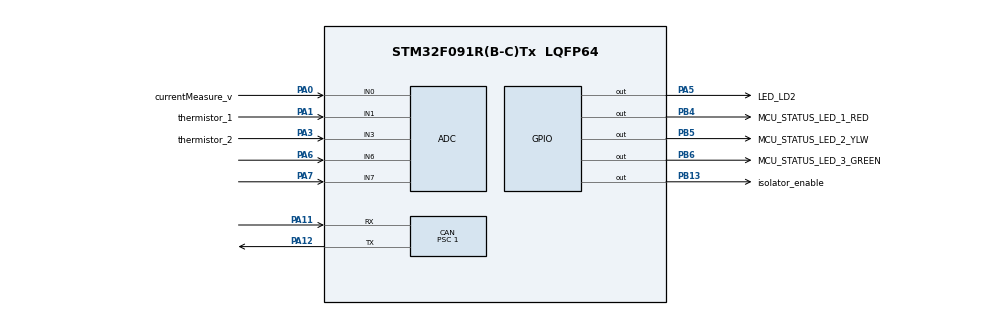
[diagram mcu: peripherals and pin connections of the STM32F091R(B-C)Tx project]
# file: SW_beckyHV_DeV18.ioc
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ADC.ContinuousConvMode=ENABLE
CAN.BS1=CAN_BS1_6TQ
CAN.CalculateBaudRate=1000000
CAN.CalculateTimeBit=1000
CAN.CalculateTimeQuantum=125.0
CAN.Prescaler=1
Dma.ADC.0.Direction=DMA_PERIPH_TO_MEMORY
Dma.ADC.0.Instance=DMA1_Channel1
Dma.ADC.0.MemDataAlignment=DMA_MDATAALIGN_HALFWORD
Dma.ADC.0.MemInc=DMA_MINC_ENABLE
Dma.ADC.0.Mode=DMA_NORMAL
Dma.ADC.0.PeriphDataAlignment=DMA_PDATAALIGN_HALFWORD
Dma.ADC.0.PeriphInc=DMA_PINC_DISABLE
Dma.ADC.0.Priority=DMA_PRIORITY_HIGH
Dma.Request0=ADC
Mcu.Family=STM32F0
Mcu.Name=STM32F091R(B-C)Tx
Mcu.Package=LQFP64
NVIC.DMA1_Ch1_IRQn=true\:0\:0\:false\:false\:true\:false\:true\:true
NVIC.TIM3_IRQn=true\:0\:0\:false\:false\:true\:true\:true\:true
PA0.GPIO_Label=currentMeasure_v
PA0.Mode=IN0
PA0.Signal=ADC_IN0
PA1.GPIO_Label=thermistor_1
PA1.Mode=IN1
PA1.Signal=ADC_IN1
PA11.Mode=CAN_Activate
PA11.Signal=CAN_RX
PA12.Mode=CAN_Activate
PA12.Signal=CAN_TX
PA13.Mode=Serial_Wire
PA13.Signal=SYS_SWDIO
PA14.Mode=Serial_Wire
PA14.Signal=SYS_SWCLK
PA3.GPIO_Label=thermistor_2
PA3.Mode=IN3
PA3.Signal=ADC_IN3
PA5.GPIO_Label=LED_LD2
PA5.Signal=GPIO_Output
PA6.Mode=IN6
PA6.Signal=ADC_IN6
PA7.Mode=IN7
PA7.Signal=ADC_IN7
PB13.GPIO_Label=isolator_enable
PB13.Signal=GPIO_Output
PB4.GPIO_Label=MCU_STATUS_LED_1_RED
PB4.Signal=GPIO_Output
PB5.GPIO_Label=MCU_STATUS_LED_2_YLW
PB5.Signal=GPIO_Output
PB6.GPIO_Label=MCU_STATUS_LED_3_GREEN
PB6.Signal=GPIO_Output
ProjectManager.HeapSize=0x200
ProjectManager.StackSize=0x400
ProjectManager.TargetToolchain=STM32CubeIDE
RCC.APB1Freq_Value=8000000
RCC.APB1TimFreq_Value=8000000
TIM3.AutoReloadPreload=TIM_AUTORELOAD_PRELOAD_ENABLE
TIM3.Period=49999
TIM3.Prescaler=16
VP_TIM3_VS_ClockSourceINT.Mode=Internal
board=custom

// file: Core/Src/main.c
/* USER CODE BEGIN Header */
/**
 ******************************************************************************
 * @file           : main.c
 * @brief          : Main program body
 ******************************************************************************
 * @attention
 *
 * Copyright (c) 2023 STMicroelectronics.
 * All rights reserved.
 *
 * This software is licensed under terms that can be found in the LICENSE file
 * in the root directory of this software component.
 * If no LICENSE file comes with this software, it is provided AS-IS.
 *
 ******************************************************************************
 */
/* USER CODE END Header */
#include "main.h"

/* USER CODE BEGIN Includes */
#include <math.h>
#include <stdio.h> // only for debugging purposes, remove if space is limited
#include "../CAN/lib/can1.h"
/* USER CODE END Includes */

/* USER CODE BEGIN PD */

/* Define which ADCs are taking which measurements */
#define ADC_N 5 // number of adc pins active
#define ADC_curr_N 0
#define ADC_therm1_N 1
#define ADC_therm2_N 2
#define ADC_voltBat_N 3
#define ADC_voltVehicle_N 4
#define NUM_AVG_VALS 16
/* USER CODE END PD */

ADC_HandleTypeDef hadc;
DMA_HandleTypeDef hdma_adc;

CAN_HandleTypeDef hcan;

TIM_HandleTypeDef htim3;

/* USER CODE BEGIN PV */
int period = 100; /* period given in ms */
int timeout_time = 50; /* time given in ms */
int SEND_ON_CAN = 0;

typedef enum {
	no_error,
	cell_over_voltage,
	cell_under_voltage,
	cell_over_temperature,
	cell_under_temperature,
	over_current,
	under_current,
	ADC_timeout
} error_t;

error_t error = no_error;
volatile uint16_t ADC_read_value_raw[ADC_N]; // Range: [0,4095]
volatile uint16_t ADC_average_value[ADC_N];

// Variables for ADC averaging
volatile uint16_t ADC_recent_current[NUM_AVG_VALS];
volatile uint16_t ADC_recent_voltBat[NUM_AVG_VALS];
volatile uint16_t ADC_recent_voltVehicle[NUM_AVG_VALS];

volatile float ADC_reference_voltage = 3.3;

volatile int ADC_interrupt_flag;  // set by ADC callback
volatile int timeout;
volatile double current_I, vBat_V, vVehicle_V, tTherm1_C, tTherm2_C; // measurement variables
volatile uint8_t current_CAN;
HAL_StatusTypeDef ADC_status;
/* ======= CAN =========== */
CAN_TxHeaderTypeDef pTxHeader;
CAN_RxHeaderTypeDef pRxHeader;
uint8_t TxData[8]; // transmitted data
uint8_t RxData[8]; // received data
uint32_t TxMailbox; // mailbox to store transmitted message

struct can1_ivt_improved_status_t ivt_improved_status;
/* USER CODE END PV */

void SystemClock_Config(void);
static void MX_GPIO_Init(void);
static void MX_DMA_Init(void);
static void MX_ADC_Init(void);
static void MX_CAN_Init(void);
static void MX_TIM3_Init(void);
/* USER CODE BEGIN PFP */
/* Timer 3 has a 500kHz period */
double current_measure(double ADC_value); // Process ADC values for current measurement
double voltage_measure(double ADC_value);
double ADC_to_Temperature(double ADC_value);

// CAN functions
void HAL_TIM_PeriodElapsedCallback(TIM_HandleTypeDef *htim);
void CAN_send_status(void);
/* USER CODE END PFP */

int main(void)
{
  /* USER CODE BEGIN 1 */
	int k1=0,k2=0; // loop variables
	float sumVar; // used for summation in the average calculation
  /* USER CODE END 1 */

  /* MCU Configuration--------------------------------------------------------*/

  /* Reset of all peripherals, Initializes the Flash interface and the Systick. */
  HAL_Init();

  /* Configure the system clock */
  SystemClock_Config();

  /* Initialize all configured peripherals */
  MX_GPIO_Init();
  MX_DMA_Init();
  MX_ADC_Init();
  MX_CAN_Init();
  MX_TIM3_Init();
  /* USER CODE BEGIN 2 */
  HAL_CAN_Start(&hcan);
  HAL_CAN_WakeUp(&hcan);

  // set isolator pin to high permanently
  HAL_GPIO_WritePin(isolator_enable_GPIO_Port, isolator_enable_Pin, GPIO_PIN_SET);
  // Calibrate the ADC
  ADC_status = HAL_ADCEx_Calibration_Start(&hadc);
  if (ADC_status == HAL_ERROR)
	  Error_Handler();
  /* USER CODE END 2 */

  /* Infinite loop */
  /* USER CODE BEGIN WHILE */
	while (1) {

		/* Toggle heartbeat */
		HAL_GPIO_TogglePin(MCU_STATUS_LED_3_GREEN_GPIO_Port, MCU_STATUS_LED_3_GREEN_Pin);

		/* Initialise flags on loop */
		ADC_interrupt_flag = 0;
		timeout = 1;

		// Take ADC values using the DMA
		HAL_ADC_Start_DMA(&hadc, (uint32_t *)ADC_read_value_raw, (uint16_t)ADC_N);
		for (int i = 0; i < ((timeout_time / 10) - 1); i++) {
			if (ADC_interrupt_flag == 1) {

				timeout = 0;

				// Rolling average used as it is fast, but downside is slight error propagation
				// For current and voltage a larger weight is given to the most recent reading, so it is less stable but quicker to react to large swings
				// The temperature readings have a large weight on previous values
				// 32 = 2^5 chosen as the weight to use bit-shift arithmetic. A power of 2 is recommended to use bit shift operation
				// TODO: improve the efficiency of these calculations ,should be possible with additions and bitshifts
				ADC_average_value[ADC_therm1_N] = round((ADC_read_value_raw[ADC_therm1_N] + ADC_average_value[ADC_therm1_N]*15) >> 4);
				ADC_average_value[ADC_therm2_N] = round((ADC_read_value_raw[ADC_therm2_N] + ADC_average_value[ADC_therm2_N]*15) >> 4);
				ADC_average_value[ADC_curr_N] = round((5*ADC_read_value_raw[ADC_curr_N] + ADC_average_value[ADC_curr_N]*11) >> 4);
				ADC_average_value[ADC_voltBat_N] = round((ADC_read_value_raw[ADC_voltBat_N] + ADC_average_value[ADC_voltBat_N]*15) >> 4);
				ADC_average_value[ADC_voltVehicle_N] = round((ADC_read_value_raw[ADC_voltVehicle_N] + ADC_average_value[ADC_voltVehicle_N]*15) >> 4);

					//Check current reading, store in current_I
				current_I = current_measure(ADC_average_value[ADC_curr_N]);
				//Check voltage readings, store in vBat_V and vVehicle_V
				vBat_V = voltage_measure(ADC_average_value[ADC_voltBat_N]);
				vVehicle_V = voltage_measure(ADC_average_value[ADC_voltVehicle_N]);
				// Take thermistor readings
				tTherm1_C = ADC_to_Temperature(ADC_average_value[ADC_therm1_N]);
				tTherm2_C = ADC_to_Temperature(ADC_average_value[ADC_therm2_N]);

				break;
			}
			HAL_Delay(50);
		}
		CAN_send_status(); // bypass the timer
		//Send data and status on CAN
		if (SEND_ON_CAN == 1)
		{
			HAL_TIM_Base_Stop_IT(&htim3); // stop timer once it is complete
			CAN_send_status(); //pack data and send on CAN
			SEND_ON_CAN = 0;
			HAL_TIM_Base_Start_IT(&htim3); // start timer again
		}

		//If we haven't received values from ADC trough DMA -> timeout error
		if (timeout) {
			error = ADC_timeout;
		}

		//Check if we have an error, if yes go to error handler
		if (error) {
			Error_Handler();
		}
		HAL_Delay(period);
	}
    /* USER CODE END WHILE */

}

void SystemClock_Config(void)
{
  RCC_OscInitTypeDef RCC_OscInitStruct = {0};
  RCC_ClkInitTypeDef RCC_ClkInitStruct = {0};

  /** Initializes the RCC Oscillators according to the specified parameters
  * in the RCC_OscInitTypeDef structure.
  */
  RCC_OscInitStruct.OscillatorType = RCC_OSCILLATORTYPE_HSI|RCC_OSCILLATORTYPE_HSI14;
  RCC_OscInitStruct.HSIState = RCC_HSI_ON;
  RCC_OscInitStruct.HSI14State = RCC_HSI14_ON;
  RCC_OscInitStruct.HSICalibrationValue = RCC_HSICALIBRATION_DEFAULT;
  RCC_OscInitStruct.HSI14CalibrationValue = 16;
  RCC_OscInitStruct.PLL.PLLState = RCC_PLL_NONE;
  if (HAL_RCC_OscConfig(&RCC_OscInitStruct) != HAL_OK)
  {
    Error_Handler();
  }

  /** Initializes the CPU, AHB and APB buses clocks
  */
  RCC_ClkInitStruct.ClockType = RCC_CLOCKTYPE_HCLK|RCC_CLOCKTYPE_SYSCLK
                              |RCC_CLOCKTYPE_PCLK1;
  RCC_ClkInitStruct.SYSCLKSource = RCC_SYSCLKSOURCE_HSI;
  RCC_ClkInitStruct.AHBCLKDivider = RCC_SYSCLK_DIV1;
  RCC_ClkInitStruct.APB1CLKDivider = RCC_HCLK_DIV1;

  if (HAL_RCC_ClockConfig(&RCC_ClkInitStruct, FLASH_LATENCY_0) != HAL_OK)
  {
    Error_Handler();
  }
}

static void MX_ADC_Init(void)
{

  ADC_ChannelConfTypeDef sConfig = {0};

  /** Configure the global features of the ADC (Clock, Resolution, Data Alignment and number of conversion)
  */
  hadc.Instance = ADC1;
  hadc.Init.ClockPrescaler = ADC_CLOCK_ASYNC_DIV1;
  hadc.Init.Resolution = ADC_RESOLUTION_12B;
  hadc.Init.DataAlign = ADC_DATAALIGN_RIGHT;
  hadc.Init.ScanConvMode = ADC_SCAN_DIRECTION_FORWARD;
  hadc.Init.EOCSelection = ADC_EOC_SINGLE_CONV;
  hadc.Init.LowPowerAutoWait = DISABLE;
  hadc.Init.LowPowerAutoPowerOff = DISABLE;
  hadc.Init.ContinuousConvMode = ENABLE;
  hadc.Init.DiscontinuousConvMode = DISABLE;
  hadc.Init.ExternalTrigConv = ADC_SOFTWARE_START;
  hadc.Init.ExternalTrigConvEdge = ADC_EXTERNALTRIGCONVEDGE_NONE;
  hadc.Init.DMAContinuousRequests = DISABLE;
  hadc.Init.Overrun = ADC_OVR_DATA_PRESERVED;
  if (HAL_ADC_Init(&hadc) != HAL_OK)
  {
    Error_Handler();
  }

  /** Configure for the selected ADC regular channel to be converted.
  */
  sConfig.Channel = ADC_CHANNEL_0;
  sConfig.Rank = ADC_RANK_CHANNEL_NUMBER;
  sConfig.SamplingTime = ADC_SAMPLETIME_1CYCLE_5;
  if (HAL_ADC_ConfigChannel(&hadc, &sConfig) != HAL_OK)
  {
    Error_Handler();
  }

  /** Configure for the selected ADC regular channel to be converted.
  */
  sConfig.Channel = ADC_CHANNEL_1;
  if (HAL_ADC_ConfigChannel(&hadc, &sConfig) != HAL_OK)
  {
    Error_Handler();
  }

  /** Configure for the selected ADC regular channel to be converted.
  */
  sConfig.Channel = ADC_CHANNEL_3;
  if (HAL_ADC_ConfigChannel(&hadc, &sConfig) != HAL_OK)
  {
    Error_Handler();
  }

  /** Configure for the selected ADC regular channel to be converted.
  */
  sConfig.Channel = ADC_CHANNEL_6;
  if (HAL_ADC_ConfigChannel(&hadc, &sConfig) != HAL_OK)
  {
    Error_Handler();
  }

  /** Configure for the selected ADC regular channel to be converted.
  */
  sConfig.Channel = ADC_CHANNEL_7;
  if (HAL_ADC_ConfigChannel(&hadc, &sConfig) != HAL_OK)
  {
    Error_Handler();
  }

}

static void MX_CAN_Init(void)
{

  hcan.Instance = CAN;
  hcan.Init.Prescaler = 1;
  hcan.Init.Mode = CAN_MODE_NORMAL;
  hcan.Init.SyncJumpWidth = CAN_SJW_1TQ;
  hcan.Init.TimeSeg1 = CAN_BS1_6TQ;
  hcan.Init.TimeSeg2 = CAN_BS2_1TQ;
  hcan.Init.TimeTriggeredMode = DISABLE;
  hcan.Init.AutoBusOff = DISABLE;
  hcan.Init.AutoWakeUp = DISABLE;
  hcan.Init.AutoRetransmission = DISABLE;
  hcan.Init.ReceiveFifoLocked = DISABLE;
  hcan.Init.TransmitFifoPriority = DISABLE;
  if (HAL_CAN_Init(&hcan) != HAL_OK)
  {
    Error_Handler();
  }

}

static void MX_TIM3_Init(void)
{

  TIM_ClockConfigTypeDef sClockSourceConfig = {0};
  TIM_MasterConfigTypeDef sMasterConfig = {0};

  htim3.Instance = TIM3;
  htim3.Init.Prescaler = 16;
  htim3.Init.CounterMode = TIM_COUNTERMODE_UP;
  htim3.Init.Period = 49999;
  htim3.Init.ClockDivision = TIM_CLOCKDIVISION_DIV1;
  htim3.Init.AutoReloadPreload = TIM_AUTORELOAD_PRELOAD_ENABLE;
  if (HAL_TIM_Base_Init(&htim3) != HAL_OK)
  {
    Error_Handler();
  }
  sClockSourceConfig.ClockSource = TIM_CLOCKSOURCE_INTERNAL;
  if (HAL_TIM_ConfigClockSource(&htim3, &sClockSourceConfig) != HAL_OK)
  {
    Error_Handler();
  }
  sMasterConfig.MasterOutputTrigger = TIM_TRGO_RESET;
  sMasterConfig.MasterSlaveMode = TIM_MASTERSLAVEMODE_DISABLE;
  if (HAL_TIMEx_MasterConfigSynchronization(&htim3, &sMasterConfig) != HAL_OK)
  {
    Error_Handler();
  }

}

static void MX_DMA_Init(void)
{

  /* DMA controller clock enable */
  __HAL_RCC_DMA1_CLK_ENABLE();

  /* DMA interrupt init */
  /* DMA1_Ch1_IRQn interrupt configuration */
  HAL_NVIC_SetPriority(DMA1_Ch1_IRQn, 0, 0);
  HAL_NVIC_EnableIRQ(DMA1_Ch1_IRQn);

}

static void MX_GPIO_Init(void)
{
  GPIO_InitTypeDef GPIO_InitStruct = {0};

  /* GPIO Ports Clock Enable */
  __HAL_RCC_GPIOA_CLK_ENABLE();
  __HAL_RCC_GPIOB_CLK_ENABLE();

  /*Configure GPIO pin Output Level */
  HAL_GPIO_WritePin(LED_LD2_GPIO_Port, LED_LD2_Pin, GPIO_PIN_RESET);

  /*Configure GPIO pin Output Level */
  HAL_GPIO_WritePin(GPIOB, isolator_enable_Pin|MCU_STATUS_LED_1_RED_Pin|MCU_STATUS_LED_2_YLW_Pin|MCU_STATUS_LED_3_GREEN_Pin, GPIO_PIN_RESET);

  /*Configure GPIO pin : LED_LD2_Pin */
  GPIO_InitStruct.Pin = LED_LD2_Pin;
  GPIO_InitStruct.Mode = GPIO_MODE_OUTPUT_PP;
  GPIO_InitStruct.Pull = GPIO_NOPULL;
  GPIO_InitStruct.Speed = GPIO_SPEED_FREQ_LOW;
  HAL_GPIO_Init(LED_LD2_GPIO_Port, &GPIO_InitStruct);

  /*Configure GPIO pins : isolator_enable_Pin MCU_STATUS_LED_1_RED_Pin MCU_STATUS_LED_2_YLW_Pin MCU_STATUS_LED_3_GREEN_Pin */
  GPIO_InitStruct.Pin = isolator_enable_Pin|MCU_STATUS_LED_1_RED_Pin|MCU_STATUS_LED_2_YLW_Pin|MCU_STATUS_LED_3_GREEN_Pin;
  GPIO_InitStruct.Mode = GPIO_MODE_OUTPUT_PP;
  GPIO_InitStruct.Pull = GPIO_NOPULL;
  GPIO_InitStruct.Speed = GPIO_SPEED_FREQ_LOW;
  HAL_GPIO_Init(GPIOB, &GPIO_InitStruct);

}

/* USER CODE BEGIN 4 */
void HAL_ADC_ConvCpltCallback(ADC_HandleTypeDef *hadc) {
	ADC_interrupt_flag = 1;
}

double current_measure(double ADC_value) {
	/*
	double currMeas_V, sensMeas_V;
	// Calculate the voltage on the ADC input
	currMeas_V = (ADC_reference_voltage * ADC_read_value_raw[ADC_curr_N]) / 4096.0; // Range: [0, 3.3V]
	// Calculate the sensor output
	sensMeas_V = currMeas_V * (27 + 10) / 27.0;
	// Calculate the current through the sensor: Vsens = 2,5 + 10e-3*Iactual
	// Based on measurements: Vsens = 2,482 + 10e-3*Iactual
	// Need a lot of characterisation to make this at all accurate
	current_I = (100*sensMeas_V - 248.2 + 8.78)/0.63; //Amps (8.78 is an offset to keep it at roughly 0A when it should be 0)
	// TODO: Should add some sort of averaging here, need to improve accuracy somehow of current measurement
	current_CAN = (uint8_t) current_I;
	*/

	// current value obtained through characterisation and polynomial fitting
	return -9.706 * pow(10,-10) * pow(ADC_value,3) + 1.431*pow(10,-5) * pow(ADC_value,2) + 0.09581 * ADC_value - 262.3;
}

double voltage_measure(double ADC_value)
{
	double ADCval_V;
	ADCval_V = (ADC_reference_voltage * ADC_value) / 4096.0; // Range: [0, 3.3V]

	/* Reverse the voltage division to get actual voltage value */
	/* division: (2Meg + 2Meg + 2Meg + 1Meg + 300k + (120k || 120k || 120k)) / (120k || 120k || 120k) */
	return (734/4)*ADCval_V;
}

/*
 The code defines a function "ADC_to_Temperature" that calculates the temperature in degrees Celsius
 based on an ADC value, using the Steinhart-Hart equation and specific parameters such as the
 Beta value, reference temperature, and nominal resistance of a thermistor. The function takes
 the ADC value as input, performs the calculation, and returns the corresponding temperature.
 */
double ADC_to_Temperature(double ADC_value) {	//TODO: calibrate
	double beta = 3500;
	double temp = 25 + 273.15;
	double R0 = 10000 * exp(-beta / temp);
	double R = 10000;
	return beta / (log(R * ADC_value ) - log(-R0 * (ADC_value - 4095))) - 273.15;
}

void CAN_send_status(void)
{
	ivt_improved_status.ivt_current = can1_ivt_improved_status_ivt_current_encode(current_I);
	ivt_improved_status.ivt_voltage_battery = can1_ivt_improved_status_ivt_voltage_battery_encode(vBat_V);
	ivt_improved_status.ivt_voltage_vehicle = can1_ivt_improved_status_ivt_voltage_vehicle_encode(vVehicle_V);
	ivt_improved_status.temp_h_vplus = can1_ivt_improved_status_temp_h_vplus_encode(tTherm1_C);
	ivt_improved_status.temp_h_vminus = can1_ivt_improved_status_temp_h_vminus_encode(tTherm2_C);

	// TODO : fix mapping of voltage signals so that they can be signed
	pTxHeader.DLC = CAN1_IVT_IMPROVED_STATUS_LENGTH;
	pTxHeader.IDE = CAN_ID_STD;
	pTxHeader.StdId = CAN1_IVT_IMPROVED_STATUS_FRAME_ID;
	pTxHeader.RTR = CAN_RTR_DATA;
	pTxHeader.TransmitGlobalTime = DISABLE;

	can1_ivt_improved_status_pack(TxData, &ivt_improved_status, CAN1_IVT_IMPROVED_STATUS_LENGTH);
	if (HAL_CAN_AddTxMessage(&hcan, &pTxHeader, TxData, &TxMailbox) != HAL_OK) {
		Error_Handler();

	}
}

void HAL_TIM_PeriodElapsedCallback(TIM_HandleTypeDef *htim)
{
  // Check which version of the timer triggered this callback and send on CAN if it's tim3.
  if (htim == &htim3 )
  {
    SEND_ON_CAN = 1;

  }
}

/* CAN Functions - should be adapted for IVT
void can_lv_bms_data_a_store(void) {
	lv_bms_data_a.current = current_I;
}

void can_lv_bms_data_a_send_status(void){
	pTxHeader.DLC = CAN1_LV_BMS_DATA_A_LENGTH;
	pTxHeader.IDE = CAN_ID_STD;
	pTxHeader.StdId = CAN1_LV_BMS_DATA_A_FRAME_ID;
	pTxHeader.RTR = CAN_RTR_DATA;
	pTxHeader.TransmitGlobalTime = DISABLE;

	//Need to pack data in different messages due to lack of space per message. See can.c file.
	for (uint8_t multiplexor = 0; multiplexor <= 3; multiplexor++) {
	        lv_bms_data_a.data_multiplexor = multiplexor; // Update the multiplexor
	        can1_lv_bms_data_a_pack(TxData, &lv_bms_data_a, CAN1_LV_BMS_DATA_A_LENGTH); // Call the packing function
	        //Send the message
	        if (HAL_CAN_AddTxMessage(&hcan, &pTxHeader, TxData, &TxMailbox) != HAL_OK) {
	        		Error_Handler();
	        }
	}
}

void can_lv_bms_status_a_store(void) {
	lv_bms_status_a.current = current_I;
	lv_bms_status_a.lv_bms_error = error;
}

void can_lv_bms_status_a_send_status(void){
	pTxHeader.DLC = CAN1_LV_BMS_STATUS_A_LENGTH;
	pTxHeader.IDE = CAN_ID_STD;
	pTxHeader.StdId = CAN1_LV_BMS_STATUS_A_FRAME_ID;
	pTxHeader.RTR = CAN_RTR_DATA;
	pTxHeader.TransmitGlobalTime = DISABLE;

	can1_lv_bms_status_a_pack(TxData, &lv_bms_status_a, CAN1_LV_BMS_STATUS_A_LENGTH);

	if (HAL_CAN_AddTxMessage(&hcan, &pTxHeader, TxData, &TxMailbox) != HAL_OK) {
		Error_Handler();

	}
} */
/* USER CODE END 4 */

void Error_Handler(void)
{
  /* USER CODE BEGIN Error_Handler_Debug */
	/* User can add his own implementation to report the HAL error return state */
	//__disable_irq();
	// Send error information on CAN
	while (1) {
		HAL_GPIO_WritePin(MCU_STATUS_LED_2_YLW_GPIO_Port,
				MCU_STATUS_LED_2_YLW_Pin, 1);
		if (ADC_status == HAL_ERROR)
			printf("ADC Error");
		HAL_Delay(100);
	}
	//NVIC_SystemReset();
  /* USER CODE END Error_Handler_Debug */
}
